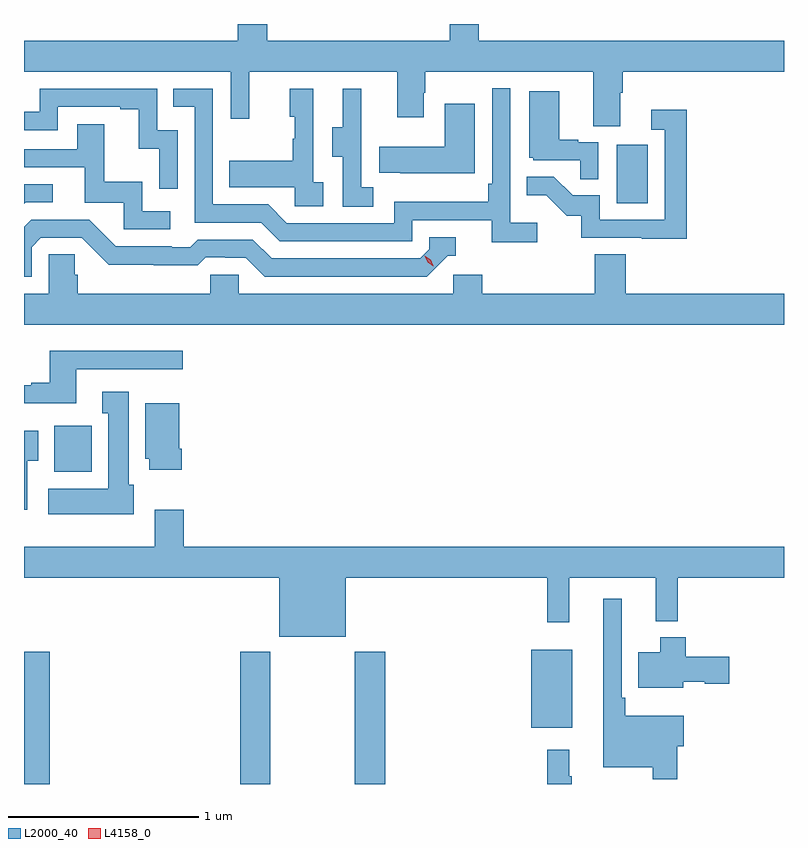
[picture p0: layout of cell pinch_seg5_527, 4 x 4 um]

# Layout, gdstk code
import gdstk
lib = gdstk.Library(unit=1e-6, precision=1e-09)
def R(c, l, rs):  # rectangles x0, y0, x1, y1
    for r in rs: c.add(gdstk.rectangle(r[:2], r[2:], *l))
def P(c, l, *ps):  # polygons
    for p in ps: c.add(gdstk.Polygon(p, *l))
L2000_40 = (2000, 40)
L4158_0 = (4158, 0)

pinch_seg5_527 = lib.new_cell('pinch_seg5_527')
R(pinch_seg5_527, L2000_40, [(959.444,839.691,959.579,840.388), (960.581,839.691,960.741,840.388), (961.186,839.691,961.346,840.388), (962.114,839.987,962.329,840.397), (959.603,841.334,959.8,841.576), (962.564,842.748,962.728,843.055)])
P(pinch_seg5_527, L2000_40, [(962.581,843.328),(962.594,843.328),(962.594,843.44),(963.444,843.44),(963.444,843.604),(961.838,843.604),(961.838,843.691),(961.685,843.691),(961.685,843.604),(960.725,843.604),(960.725,843.691),(960.569,843.691),(960.569,843.604),(959.444,843.604),(959.444,843.44),(960.531,843.44),(960.531,843.192),(960.629,843.192),(960.629,843.44),(961.409,843.44),(961.409,843.201),(961.549,843.201),(961.549,843.329),(961.557,843.329),(961.557,843.44),(962.441,843.44),(962.441,843.154),(962.581,843.154)],
  [(962.146,842.644),(962.004,842.644),(962.004,843.352),(961.908,843.352),(961.908,842.851),(961.888,842.851),(961.888,842.755),(961.392,842.755),(961.392,842.643),(960.828,842.643),(960.729,842.742),(960.438,842.742),(960.438,843.351),(960.229,843.351),(960.229,843.255),(960.342,843.255),(960.342,842.646),(960.692,842.646),(960.791,842.547),(961.488,842.547),(961.488,842.658),(961.907,842.658),(961.907,842.542),(962.146,842.542)],
  [(960.252,843.132),(960.144,843.132),(960.144,843.351),(959.526,843.351),(959.526,843.228),(959.444,843.228),(959.444,843.132),(959.622,843.132),(959.622,843.255),(959.951,843.255),(959.951,843.243),(960.047,843.243),(960.047,843.035),(960.156,843.035),(960.156,842.823),(960.252,842.823)],
  [(961.018,842.858),(960.966,842.858),(960.966,843.349),(960.842,843.349),(960.842,843.204),(960.868,843.204),(960.868,843.086),(960.858,843.086),(960.858,842.971),(960.523,842.971),(960.523,842.831),(960.87,842.831),(960.87,842.733),(961.018,842.733)],
  [(961.282,842.831),(961.218,842.831),(961.218,843.135),(961.22,843.135),(961.22,843.349),(961.121,843.349),(961.121,843.147),(961.067,843.147),(961.067,842.992),(961.122,842.992),(961.122,842.728),(961.282,842.728)],
  [(962.466,843.069),(962.36,843.069),(962.36,843.082),(962.26,843.082),(962.26,843.337),(962.102,843.337),(962.102,842.988),(962.124,842.988),(962.124,842.973),(962.371,842.973),(962.371,842.875),(962.466,842.875)],
  [(961.816,843.271),(961.658,843.271),(961.658,843.046),(961.315,843.046),(961.315,842.909),(961.423,842.909),(961.423,842.906),(961.816,842.906)],
  [(962.933,843.241),(962.745,843.241),(962.745,843.135),(962.817,843.135),(962.817,842.661),(962.475,842.661),(962.475,842.79),(962.331,842.79),(962.233,842.888),(962.089,842.888),(962.089,842.789),(962.193,842.789),(962.3,842.682),(962.377,842.682),(962.377,842.565),(962.695,842.565),(962.695,842.56),(962.933,842.56)],
  [(960.214,842.706),(960.066,842.706),(960.066,842.86),(959.867,842.86),(959.867,843.163),(959.723,843.163),(959.723,843.033),(959.444,843.033),(959.444,842.937),(959.765,842.937),(959.765,842.751),(959.97,842.751),(959.97,842.61),(960.214,842.61)],
  [(959.454,842.754),(959.596,842.754),(959.596,842.847),(959.444,842.847),(959.444,842.744)],
  [(959.484,842.517),(959.532,842.565),(959.748,842.565),(959.89,842.423),(960.126,842.423),(960.126,842.421),(960.359,842.421),(960.401,842.463),(960.504,842.463),(960.504,842.46),(960.611,842.46),(960.71,842.361),(961.563,842.361),(961.674,842.472),(961.717,842.472),(961.717,842.568),(961.578,842.568),(961.578,842.505),(961.53,842.457),(960.747,842.457),(960.648,842.556),(960.359,842.556),(960.32,842.517),(960.221,842.517),(960.221,842.52),(959.928,842.52),(959.787,842.661),(959.481,842.661),(959.444,842.624),(959.444,842.361),(959.484,842.361)],
  [(963.444,842.272),(962.612,842.272),(962.612,842.48),(962.447,842.48),(962.447,842.272),(961.856,842.272),(961.856,842.37),(961.704,842.37),(961.704,842.272),(960.573,842.272),(960.573,842.37),(960.423,842.37),(960.423,842.272),(959.726,842.272),(959.726,842.37),(959.711,842.37),(959.711,842.48),(959.574,842.48),(959.574,842.272),(959.444,842.272),(959.444,842.108),(963.444,842.108)],
  [(959.719,841.875),(960.28,841.875),(960.28,841.972),(959.579,841.972),(959.579,841.804),(959.483,841.804),(959.483,841.791),(959.444,841.791),(959.444,841.694),(959.719,841.694)],
  [(960.022,841.266),(959.995,841.266),(959.995,841.756),(959.855,841.756),(959.855,841.643),(959.888,841.643),(959.888,841.246),(959.571,841.246),(959.571,841.112),(960.022,841.112)],
  [(960.275,841.456),(960.262,841.456),(960.262,841.696),(960.083,841.696),(960.083,841.404),(960.104,841.404),(960.104,841.344),(960.275,841.344)],
  [(959.461,841.393),(959.518,841.393),(959.518,841.549),(959.444,841.549),(959.444,841.134),(959.461,841.134)],
  [(961.138,840.776),(962.197,840.776),(962.197,840.543),(962.315,840.543),(962.315,840.776),(962.768,840.776),(962.768,840.548),(962.885,840.548),(962.885,840.776),(963.444,840.776),(963.444,840.94),(960.284,840.94),(960.284,841.135),(960.131,841.135),(960.131,840.94),(959.444,840.94),(959.444,840.776),(960.788,840.776),(960.788,840.467),(961.138,840.467)],
  [(962.882,839.891),(962.917,839.891),(962.917,840.049),(962.609,840.049),(962.609,840.145),(962.589,840.145),(962.589,840.667),(962.492,840.667),(962.492,839.78),(962.754,839.78),(962.754,839.715),(962.882,839.715)],
  [(962.914,840.23),(963.027,840.23),(963.027,840.218),(963.157,840.218),(963.157,840.36),(962.927,840.36),(962.927,840.463),(962.792,840.463),(962.792,840.385),(962.678,840.385),(962.678,840.197),(962.914,840.197)],
  [(962.326,839.732),(962.314,839.732),(962.314,839.872),(962.197,839.872),(962.197,839.691),(962.326,839.691)])
P(pinch_seg5_527, L4158_0, [(961.599,842.417),(961.569,842.437),(961.553,842.47),(961.553,842.47),(961.553,842.47),(961.584,842.45),(961.599,842.418),(961.599,842.417)])

lib.write_gds('pinch_seg5_527.gds')
